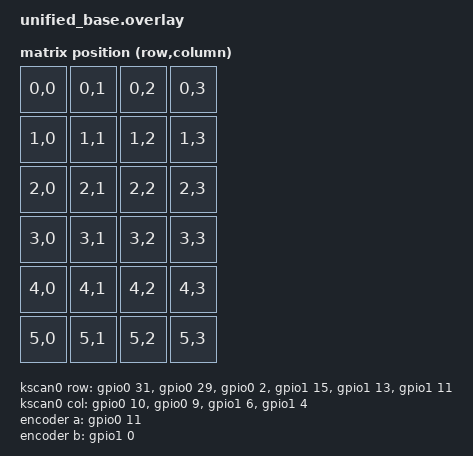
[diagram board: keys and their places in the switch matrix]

#include <dt-bindings/zmk/matrix_transform.h>

/ {
    chosen {
        zmk,kscan = &kscan0;
        zmk,matrix_transform = &default_transform;
        zmk,underglow = &led_strip;
    };

    default_transform: keymap_transform_0 {
        compatible = "zmk,matrix-transform";
        columns = <4>;
        rows = <6>;

        map = <
            RC(0,0) RC(0,1) RC(0,2) RC(0,3)
            RC(1,0) RC(1,1) RC(1,2) RC(1,3)
            RC(2,0) RC(2,1) RC(2,2) RC(2,3)
            RC(3,0) RC(3,1) RC(3,2) RC(3,3)
            RC(4,0) RC(4,1) RC(4,2) RC(4,3)
            RC(5,0) RC(5,1) RC(5,2) RC(5,3)
        >;
    };

    kscan0: kscan {
        compatible = "zmk,kscan-gpio-matrix";
        label = "KSCAN";
        wakeup-source;

        diode-direction = "col2row";
        
        row-gpios
            = <&gpio0 31 (GPIO_ACTIVE_HIGH | GPIO_PULL_DOWN)>  // P0.31
            , <&gpio0 29 (GPIO_ACTIVE_HIGH | GPIO_PULL_DOWN)>  // P0.29
            , <&gpio0 2  (GPIO_ACTIVE_HIGH | GPIO_PULL_DOWN)>  // P0.02
            , <&gpio1 15 (GPIO_ACTIVE_HIGH | GPIO_PULL_DOWN)>  // P1.15
            , <&gpio1 13 (GPIO_ACTIVE_HIGH | GPIO_PULL_DOWN)>  // P1.13
            , <&gpio1 11 (GPIO_ACTIVE_HIGH | GPIO_PULL_DOWN)>  // P1.11
            ;

        col-gpios
            = <&gpio0 10 GPIO_ACTIVE_HIGH>  // P0.10
            , <&gpio0 9  GPIO_ACTIVE_HIGH>  // P0.09
            , <&gpio1 6  GPIO_ACTIVE_HIGH>  // P1.06
            , <&gpio1 4  GPIO_ACTIVE_HIGH>  // P1.04
            ;
    };

    encoder: encoder {
        compatible = "alps,ec11";
        label = "ENCODER";
        a-gpios = <&gpio0 11 (GPIO_ACTIVE_HIGH | GPIO_PULL_UP)>;  // P0.11
        b-gpios = <&gpio1 0  (GPIO_ACTIVE_HIGH | GPIO_PULL_UP)>;  // P1.00
        resolution = <4>;
        status = "okay";
    };

    sensors {
        compatible = "zmk,keymap-sensors";
        sensors = <&encoder>;
    };
};

&pinctrl {
    spi3_default: spi3_default {
        group1 {
            psels = <NRF_PSEL(SPIM_MOSI, 0, 22)>;  // P0.22 für NeoPixel
        };
    };

    spi3_sleep: spi3_sleep {
        group1 {
            psels = <NRF_PSEL(SPIM_MOSI, 0, 22)>;
            low-power-enable;
        };
    };
};

&spi3 {
    compatible = "nordic,nrf-spim";
    status = "okay";

    pinctrl-0 = <&spi3_default>;
    pinctrl-1 = <&spi3_sleep>;
    pinctrl-names = "default", "sleep";

    led_strip: ws2812@0 {
        compatible = "worldsemi,ws2812-spi";
        label = "WS2812";

        /* SPI */
        reg = <0>;
        spi-max-frequency = <4000000>;

        /* WS2812 */
        chain-length = <10>;  // 10 LEDs
        spi-one-frame = <0x70>;
        spi-zero-frame = <0x40>;
        color-mapping = <LED_COLOR_ID_GREEN LED_COLOR_ID_RED LED_COLOR_ID_BLUE>;
    };
};
